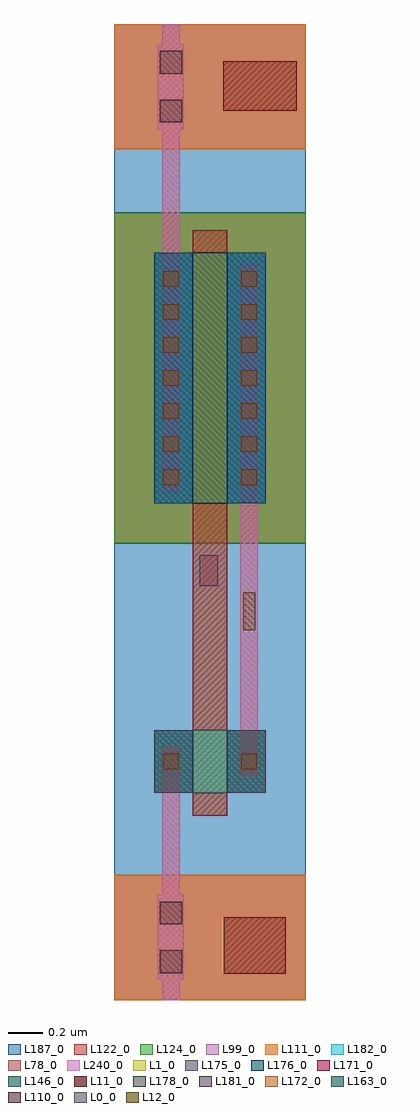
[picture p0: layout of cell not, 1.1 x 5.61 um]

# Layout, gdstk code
import gdstk
lib = gdstk.Library(unit=1e-6, precision=1e-09)
def R(c, l, rs):  # rectangles x0, y0, x1, y1
    for r in rs: c.add(gdstk.rectangle(r[:2], r[2:], *l))
def A(c, l, x, y, w, h, nx, ny, dx, dy):  # array of equal rectangles
    R(c, l, [(x+i*dx, y+j*dy, x+i*dx+w, y+j*dy+h) for i in range(nx) for j in range(ny)])
def P(c, l, *ps):  # polygons
    for p in ps: c.add(gdstk.Polygon(p, *l))
L0_0 = (0, 0)
L1_0 = (1, 0)
L11_0 = (11, 0)
L12_0 = (12, 0)
L78_0 = (78, 0)
L99_0 = (99, 0)
L110_0 = (110, 0)
L111_0 = (111, 0)
L122_0 = (122, 0)
L124_0 = (124, 0)
L146_0 = (146, 0)
L163_0 = (163, 0)
L171_0 = (171, 0)
L172_0 = (172, 0)
L175_0 = (175, 0)
L176_0 = (176, 0)
L178_0 = (178, 0)
L181_0 = (181, 0)
L182_0 = (182, 0)
L187_0 = (187, 0)
L240_0 = (240, 0)

not_ = lib.new_cell('not')
R(not_, L0_0, [(0.8,-0.805,0.905,-0.63)])
R(not_, L1_0, [(0.76,-2.125,0.96,1.24)])
R(not_, L11_0, [(0.94,-3.035,1.295,-2.71), (0.935,1.925,1.36,2.21)])
R(not_, L12_0, [(1.05,-1.06,1.12,-0.84)])
R(not_, L78_0, [(1.035,-1.9,1.135,1.045)])
P(not_, L78_0, [(0.685,2.425),(0.685,2.31),(0.71,2.31),(0.71,1.82),(0.685,1.82),(0.685,-0.265),(0.585,-0.265),(0.585,1.82),(0.56,1.82),(0.56,2.31),(0.585,2.31),(0.585,2.425)],
  [(0.685,-1.73),(0.685,-2.58),(0.71,-2.58),(0.71,-3.07),(0.685,-3.07),(0.685,-3.185),(0.585,-3.185),(0.585,-3.07),(0.56,-3.07),(0.56,-2.58),(0.585,-2.58),(0.585,-1.73)])
R(not_, L99_0, [(0.31,-3.185,1.41,-2.465), (0.31,1.705,1.41,2.425)])
R(not_, L110_0, [(0.57,-3.03,0.7,-2.9), (0.57,-2.75,0.7,-2.62), (0.57,1.86,0.7,1.99), (0.57,2.14,0.7,2.27)])
R(not_, L111_0, [(0.31,-3.185,1.41,-2.465), (0.31,1.705,1.41,2.425)])
R(not_, L122_0, [(0.31,-0.56,1.41,1.34)])
R(not_, L124_0, [(0.31,-0.56,1.41,1.34)])
R(not_, L146_0, [(0.76,-0.33,0.96,1.11)])
R(not_, L163_0, [(0.76,-1.995,0.96,-1.635)])
R(not_, L171_0, [(0.76,-2.125,0.96,-1.995), (0.76,-1.635,0.96,-0.33), (0.76,1.11,0.96,1.24)])
A(not_, L172_0, 0.59, -0.225, 0.09, 0.09, 1, 7, 0, 0.19)
A(not_, L172_0, 1.04, -0.225, 0.09, 0.09, 1, 7, 0, 0.19)
R(not_, L172_0, [(0.59,-1.86,0.68,-1.77), (1.04,-1.86,1.13,-1.77)])
R(not_, L175_0, [(0.54,-0.33,0.76,1.11), (0.96,-0.33,1.18,1.11)])
R(not_, L176_0, [(0.54,-0.33,0.76,1.11), (0.96,-0.33,1.18,1.11)])
R(not_, L178_0, [(0.54,-1.995,0.76,-1.635), (0.96,-1.995,1.18,-1.635)])
R(not_, L181_0, [(0.54,-1.995,0.76,-1.635), (0.96,-1.995,1.18,-1.635)])
R(not_, L182_0, [(0.54,-1.995,0.76,-1.635), (0.96,-1.995,1.18,-1.635), (0.54,-0.33,0.76,1.11), (0.96,-0.33,1.18,1.11)])
R(not_, L187_0, [(0.31,-3.185,1.41,-0.56), (0.31,1.34,1.41,2.425)])
R(not_, L240_0, [(1.035,-1.9,1.135,1.045)])
P(not_, L240_0, [(0.685,2.425),(0.685,2.31),(0.71,2.31),(0.71,1.82),(0.685,1.82),(0.685,-0.265),(0.585,-0.265),(0.585,1.82),(0.56,1.82),(0.56,2.31),(0.585,2.31),(0.585,2.425)],
  [(0.685,-1.73),(0.685,-2.58),(0.71,-2.58),(0.71,-3.07),(0.685,-3.07),(0.685,-3.185),(0.585,-3.185),(0.585,-3.07),(0.56,-3.07),(0.56,-2.58),(0.585,-2.58),(0.585,-1.73)])

lib.write_gds('not.gds')
